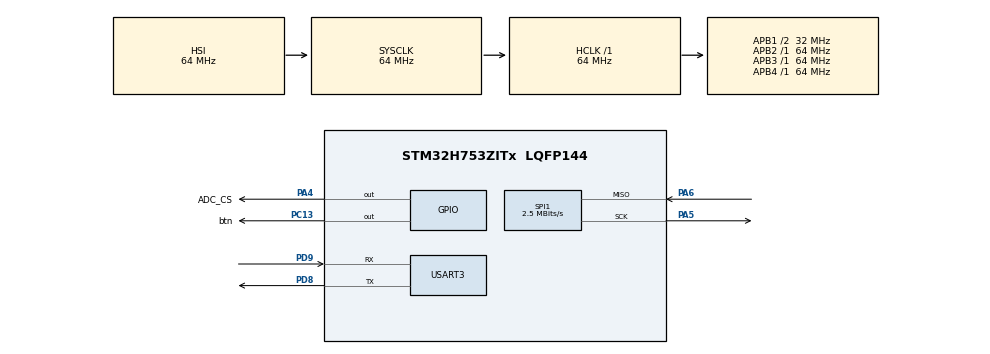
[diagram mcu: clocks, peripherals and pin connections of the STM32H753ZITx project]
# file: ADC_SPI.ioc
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CORTEX_M7.default_mode_Activation=1
Dma.Request0=USART3_RX
Dma.Request1=USART3_TX
Dma.USART3_RX.0.Direction=DMA_PERIPH_TO_MEMORY
Dma.USART3_RX.0.EventEnable=DISABLE
Dma.USART3_RX.0.FIFOMode=DMA_FIFOMODE_DISABLE
Dma.USART3_RX.0.Instance=DMA1_Stream0
Dma.USART3_RX.0.MemDataAlignment=DMA_MDATAALIGN_BYTE
Dma.USART3_RX.0.MemInc=DMA_MINC_ENABLE
Dma.USART3_RX.0.Mode=DMA_NORMAL
Dma.USART3_RX.0.PeriphDataAlignment=DMA_PDATAALIGN_BYTE
Dma.USART3_RX.0.PeriphInc=DMA_PINC_DISABLE
Dma.USART3_RX.0.Polarity=HAL_DMAMUX_REQ_GEN_RISING
Dma.USART3_RX.0.Priority=DMA_PRIORITY_LOW
Dma.USART3_RX.0.RequestNumber=1
Dma.USART3_RX.0.SignalID=NONE
Dma.USART3_RX.0.SyncEnable=DISABLE
Dma.USART3_RX.0.SyncPolarity=HAL_DMAMUX_SYNC_NO_EVENT
Dma.USART3_RX.0.SyncRequestNumber=1
Dma.USART3_RX.0.SyncSignalID=NONE
Dma.USART3_TX.1.Direction=DMA_MEMORY_TO_PERIPH
Dma.USART3_TX.1.EventEnable=DISABLE
Dma.USART3_TX.1.FIFOMode=DMA_FIFOMODE_DISABLE
Dma.USART3_TX.1.Instance=DMA1_Stream1
Dma.USART3_TX.1.MemDataAlignment=DMA_MDATAALIGN_BYTE
Dma.USART3_TX.1.MemInc=DMA_MINC_ENABLE
Dma.USART3_TX.1.Mode=DMA_NORMAL
Dma.USART3_TX.1.PeriphDataAlignment=DMA_PDATAALIGN_BYTE
Dma.USART3_TX.1.PeriphInc=DMA_PINC_DISABLE
Dma.USART3_TX.1.Polarity=HAL_DMAMUX_REQ_GEN_RISING
Dma.USART3_TX.1.Priority=DMA_PRIORITY_LOW
Dma.USART3_TX.1.RequestNumber=1
Dma.USART3_TX.1.SignalID=NONE
Dma.USART3_TX.1.SyncEnable=DISABLE
Dma.USART3_TX.1.SyncPolarity=HAL_DMAMUX_SYNC_NO_EVENT
Dma.USART3_TX.1.SyncRequestNumber=1
Dma.USART3_TX.1.SyncSignalID=NONE
Mcu.Family=STM32H7
Mcu.Name=STM32H753ZITx
Mcu.Package=LQFP144
NVIC.DMA1_Stream0_IRQn=true\:0\:0\:false\:false\:true\:false\:true\:true
NVIC.DMA1_Stream1_IRQn=true\:0\:0\:false\:false\:true\:false\:true\:true
NVIC.PriorityGroup=NVIC_PRIORITYGROUP_4
NVIC.USART3_IRQn=true\:0\:0\:false\:false\:true\:true\:true\:true
PA4.GPIO_Label=ADC_CS
PA4.Signal=GPIO_Output
PA5.Mode=RX_Only_Simplex_Unidirect_Master
PA5.Signal=SPI1_SCK
PA6.Mode=RX_Only_Simplex_Unidirect_Master
PA6.Signal=SPI1_MISO
PC13.GPIO_Label=btn
PC13.Signal=GPIO_Output
PD8.Mode=Asynchronous
PD8.Signal=USART3_TX
PD9.Mode=Asynchronous
PD9.Signal=USART3_RX
ProjectManager.HeapSize=0x200
ProjectManager.StackSize=0x400
ProjectManager.TargetToolchain=STM32CubeIDE
RCC.ADCFreq_Value=129000000
RCC.APB1Freq_Value=32000000
RCC.APB2Freq_Value=64000000
RCC.APB3Freq_Value=64000000
RCC.APB4Freq_Value=64000000
RCC.CortexFreq_Value=64000000
RCC.D2PPRE1=RCC_APB1_DIV2
RCC.DIVM1=4
RCC.DIVN1=10
RCC.HCLKFreq_Value=64000000
RCC.PLLFRACN=0
RCC.SYSCLKFreq_VALUE=64000000
RCC.USBFreq_Value=80000000
SPI1.BaudRatePrescaler=SPI_BAUDRATEPRESCALER_32
SPI1.CalculateBaudRate=2.5 MBits/s
SPI1.DataSize=SPI_DATASIZE_8BIT
SPI1.Direction=SPI_DIRECTION_2LINES_RXONLY
SPI1.Mode=SPI_MODE_MASTER
SPI1.VirtualType=VM_MASTER
USART3.VirtualMode-Asynchronous=VM_ASYNC
VP_MEMORYMAP_VS_MEMORYMAP.Mode=CurAppReg
board=custom

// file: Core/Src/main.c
/* USER CODE BEGIN Header */
/**
  ******************************************************************************
  * @file           : main.c
  * @brief          : Main program body
  ******************************************************************************
  * @attention
  *
  * Copyright (c) 2023 STMicroelectronics.
  * All rights reserved.
  *
  * This software is licensed under terms that can be found in the LICENSE file
  * in the root directory of this software component.
  * If no LICENSE file comes with this software, it is provided AS-IS.
  *
  ******************************************************************************
  */
/* USER CODE END Header */
#include "main.h"
#include "dma.h"
#include "spi.h"
#include "usart.h"
#include "gpio.h"

/* USER CODE BEGIN Includes */
#include <string.h>
/* USER CODE END Includes */

/* USER CODE BEGIN PV */
// Variáveis globais/estáticas para o seu programa
uint32_t adc_raw_value; // Variável para armazenar o valor lido do ADC SPI
char msg[100];          // Buffer para a mensagem a ser enviada pela serial
/* USER CODE END PV */

void SystemClock_Config(void);
static void MPU_Config(void);
/* USER CODE BEGIN PFP */
// Protótipos das funções que você implementará para o seu ADC SPI
void ADC_SPI_Init(void);
uint32_t ADC_SPI_ReadValue(void);
/* USER CODE END PFP */

/* USER CODE BEGIN 0 */
/**
  * @brief  Função de inicialização do ADC SPI externo.
  * Esta função deve ser adaptada de acordo com o datasheet do seu ADC.
  * @param  None
  * @retval None
  */
void ADC_SPI_Init(void)
{
    // --- EXEMPLO GENÉRICO: ADAPTE PARA O SEU ADC SPI ESPECÍFICO ---
    // Alguns ADCs SPI precisam de comandos de inicialização, configuração de registradores,
    // ou calibração. Use a comunicação SPI aqui para enviar esses comandos.
    // Lembre-se de controlar o pino CS (Chip Select) do seu ADC.

    // Exemplo de sequência (substitua pelos comandos reais do seu ADC!):
    // Desativa o CS (Chip Select) antes de começar (geralmente alto por padrão)
    HAL_GPIO_WritePin(ADC_CS_GPIO_Port, ADC_CS_Pin, GPIO_PIN_SET);
    HAL_Delay(10); // Pequeno atraso

    // Ativa CS (nível baixo)
    HAL_GPIO_WritePin(ADC_CS_GPIO_Port, ADC_CS_Pin, GPIO_PIN_RESET);
    // Enviar comando de reset ou configuração (ex: para ADS1256, AD7124, etc.)
    // uint8_t reset_cmd = 0x06; // Exemplo de um comando de reset
    // HAL_SPI_Transmit(&hspi1, &reset_cmd, 1, HAL_MAX_DELAY);
    // Desativa CS
    HAL_GPIO_WritePin(ADC_CS_GPIO_Port, ADC_CS_Pin, GPIO_PIN_SET);
    HAL_Delay(100); // Atraso após inicialização

    // Você pode precisar de mais comandos aqui para configurar ganho, taxa de amostragem, etc.
    // Consulte o datasheet do seu ADC!
}

/**
  * @brief  Função para ler um valor do ADC SPI externo.
  * Esta função deve ser adaptada de acordo com o datasheet do seu ADC.
  * @param  None
  * @retval Valor lido do ADC (uint32_t para acomodar até 32 bits).
  */
uint32_t ADC_SPI_ReadValue(void)
{
    // --- EXEMPLO GENÉRICO: ADAPTE PARA O SEU ADC SPI ESPECÍFICO ---
    uint8_t tx_dummy_byte = 0x00; // Byte dummy para iniciar a comunicação se necessário
    uint8_t rx_data[4];           // Buffer para receber dados (até 4 bytes para 32-bit ADC)
    uint32_t value = 0;

    // 1. Ativar o Chip Select (CS) - Nível baixo
    HAL_GPIO_WritePin(ADC_CS_GPIO_Port, ADC_CS_Pin, GPIO_PIN_RESET);

    // 2. Enviar o comando de leitura ou registro (se o seu ADC precisar)
    // Muitos ADCs SPI precisam de um comando para iniciar a leitura ou selecionar um canal.
    // Por exemplo, para um ADS1256, você enviaria um comando RDATA.
    // uint8_t read_command = 0x11; // Exemplo: Comando para ler dados de um registro
    // HAL_SPI_Transmit(&hspi1, &read_command, 1, HAL_MAX_DELAY);

    // 3. Receber os dados do ADC
    // Adapte o número de bytes a serem recebidos (ex: 3 para 24-bit, 2 para 16-bit).
    // Dependendo do seu ADC, você pode precisar de HAL_SPI_Receive ou HAL_SPI_TransmitReceive.
    // HAL_SPI_Receive(&hspi1, rx_data, 3, HAL_MAX_DELAY); // Exemplo para 3 bytes (24-bit ADC)
    // Ou, se o ADC precisa que você envie "dummy bytes" para clockar os dados:
    HAL_SPI_TransmitReceive(&hspi1, &tx_dummy_byte, rx_data, 3, HAL_MAX_DELAY); // 3 bytes de dados

    // 4. Desativar o Chip Select (CS) - Nível alto
    HAL_GPIO_WritePin(ADC_CS_GPIO_Port, ADC_CS_Pin, GPIO_PIN_SET);

    // 5. Reconstruir o valor lido a partir dos bytes recebidos
    // ESTA PARTE É CRÍTICA E DEPENDE DA ORDEM DE BYTES DO SEU ADC (MSB primeiro, LSB primeiro)
    // Exemplo para um ADC de 24 bits que envia MSB primeiro (Byte0, Byte1, Byte2):
    value = ( (uint32_t)rx_data[0] << 16 ) | ( (uint32_t)rx_data[1] << 8 ) | ( (uint32_t)rx_data[2] );
    // Se for 16 bits:
    // value = ( (uint32_t)rx_data[0] << 8 ) | rx_data[1];

    return value;
}
/* USER CODE END 0 */

int main(void)
{

  /* MPU Configuration--------------------------------------------------------*/
  MPU_Config();

  /* MCU Configuration--------------------------------------------------------*/

  /* Reset of all peripherals, Initializes the Flash interface and the Systick. */
  HAL_Init();

  /* Configure the system clock */
  SystemClock_Config();

  /* Initialize all configured peripherals */
  MX_GPIO_Init();
  MX_DMA_Init();
  MX_USART3_UART_Init();
  MX_SPI1_Init();
  /* USER CODE BEGIN 2 */

  // Chame a função de inicialização do seu ADC SPI externo (se necessário)
  // Esta função pode enviar comandos de configuração para o ADC
  ADC_SPI_Init();

  // Teste inicial da comunicação serial
  printf(msg, sizeof(msg), "Iniciando leitura ADC SPI...\r\n");
  HAL_UART_Transmit(&huart3, (uint8_t*)msg, strlen(msg), HAL_MAX_DELAY);

  /* USER CODE END 2 */

  /* Infinite loop */
  /* USER CODE BEGIN WHILE */
  while (1)
  {
    // 1. Leia o valor bruto do ADC SPI
    adc_raw_value = ADC_SPI_ReadValue();

    // 2. Converta o valor lido para uma string para envio serial
    // Use %lu para unsigned long int (adequado para uint32_t)
    printf(msg, sizeof(msg), "Valor ADC SPI: %lu\r\n", adc_raw_value);

    // 3. Envie a string pelo terminal serial
    HAL_UART_Transmit(&huart3, (uint8_t*)msg, strlen(msg), HAL_MAX_DELAY);

    // 4. Pequeno atraso para não sobrecarregar o terminal serial e permitir estabilização
    HAL_Delay(500); // Atraso de 500ms entre as leituras
    /* USER CODE END WHILE */

  }
}

void SystemClock_Config(void)
{
  RCC_OscInitTypeDef RCC_OscInitStruct = {0};
  RCC_ClkInitTypeDef RCC_ClkInitStruct = {0};

  /** Supply configuration update enable
  */
  HAL_PWREx_ConfigSupply(PWR_LDO_SUPPLY);

  /** Configure the main internal regulator output voltage
  */
  __HAL_PWR_VOLTAGESCALING_CONFIG(PWR_REGULATOR_VOLTAGE_SCALE3);

  while(!__HAL_PWR_GET_FLAG(PWR_FLAG_VOSRDY)) {}

  /** Initializes the RCC Oscillators according to the specified parameters
  * in the RCC_OscInitTypeDef structure.
  */
  RCC_OscInitStruct.OscillatorType = RCC_OSCILLATORTYPE_HSI;
  RCC_OscInitStruct.HSIState = RCC_HSI_DIV1;
  RCC_OscInitStruct.HSICalibrationValue = RCC_HSICALIBRATION_DEFAULT;
  RCC_OscInitStruct.PLL.PLLState = RCC_PLL_ON;
  RCC_OscInitStruct.PLL.PLLSource = RCC_PLLSOURCE_HSI;
  RCC_OscInitStruct.PLL.PLLM = 4;
  RCC_OscInitStruct.PLL.PLLN = 10;
  RCC_OscInitStruct.PLL.PLLP = 2;
  RCC_OscInitStruct.PLL.PLLQ = 2;
  RCC_OscInitStruct.PLL.PLLR = 2;
  RCC_OscInitStruct.PLL.PLLRGE = RCC_PLL1VCIRANGE_3;
  RCC_OscInitStruct.PLL.PLLVCOSEL = RCC_PLL1VCOMEDIUM;
  RCC_OscInitStruct.PLL.PLLFRACN = 0;
  if (HAL_RCC_OscConfig(&RCC_OscInitStruct) != HAL_OK)
  {
    Error_Handler();
  }

  /** Initializes the CPU, AHB and APB buses clocks
  */
  RCC_ClkInitStruct.ClockType = RCC_CLOCKTYPE_HCLK|RCC_CLOCKTYPE_SYSCLK
                              |RCC_CLOCKTYPE_PCLK1|RCC_CLOCKTYPE_PCLK2
                              |RCC_CLOCKTYPE_D3PCLK1|RCC_CLOCKTYPE_D1PCLK1;
  RCC_ClkInitStruct.SYSCLKSource = RCC_SYSCLKSOURCE_HSI;
  RCC_ClkInitStruct.SYSCLKDivider = RCC_SYSCLK_DIV1;
  RCC_ClkInitStruct.AHBCLKDivider = RCC_HCLK_DIV1;
  RCC_ClkInitStruct.APB3CLKDivider = RCC_APB3_DIV1;
  RCC_ClkInitStruct.APB1CLKDivider = RCC_APB1_DIV2;
  RCC_ClkInitStruct.APB2CLKDivider = RCC_APB2_DIV1;
  RCC_ClkInitStruct.APB4CLKDivider = RCC_APB4_DIV1;

  if (HAL_RCC_ClockConfig(&RCC_ClkInitStruct, FLASH_LATENCY_1) != HAL_OK)
  {
    Error_Handler();
  }
}

 /* MPU Configuration */

void MPU_Config(void)
{
  MPU_Region_InitTypeDef MPU_InitStruct = {0};

  /* Disables the MPU */
  HAL_MPU_Disable();

  /** Initializes and configures the Region and the memory to be protected
  */
  MPU_InitStruct.Enable = MPU_REGION_ENABLE;
  MPU_InitStruct.Number = MPU_REGION_NUMBER0;
  MPU_InitStruct.BaseAddress = 0x0;
  MPU_InitStruct.Size = MPU_REGION_SIZE_4GB;
  MPU_InitStruct.SubRegionDisable = 0x87;
  MPU_InitStruct.TypeExtField = MPU_TEX_LEVEL0;
  MPU_InitStruct.AccessPermission = MPU_REGION_NO_ACCESS;
  MPU_InitStruct.DisableExec = MPU_INSTRUCTION_ACCESS_DISABLE;
  MPU_InitStruct.IsShareable = MPU_ACCESS_SHAREABLE;
  MPU_InitStruct.IsCacheable = MPU_ACCESS_NOT_CACHEABLE;
  MPU_InitStruct.IsBufferable = MPU_ACCESS_NOT_BUFFERABLE;

  HAL_MPU_ConfigRegion(&MPU_InitStruct);
  /* Enables the MPU */
  HAL_MPU_Enable(MPU_PRIVILEGED_DEFAULT);

}

void Error_Handler(void)
{
  __disable_irq();
  while (1)
  {
  }
}
